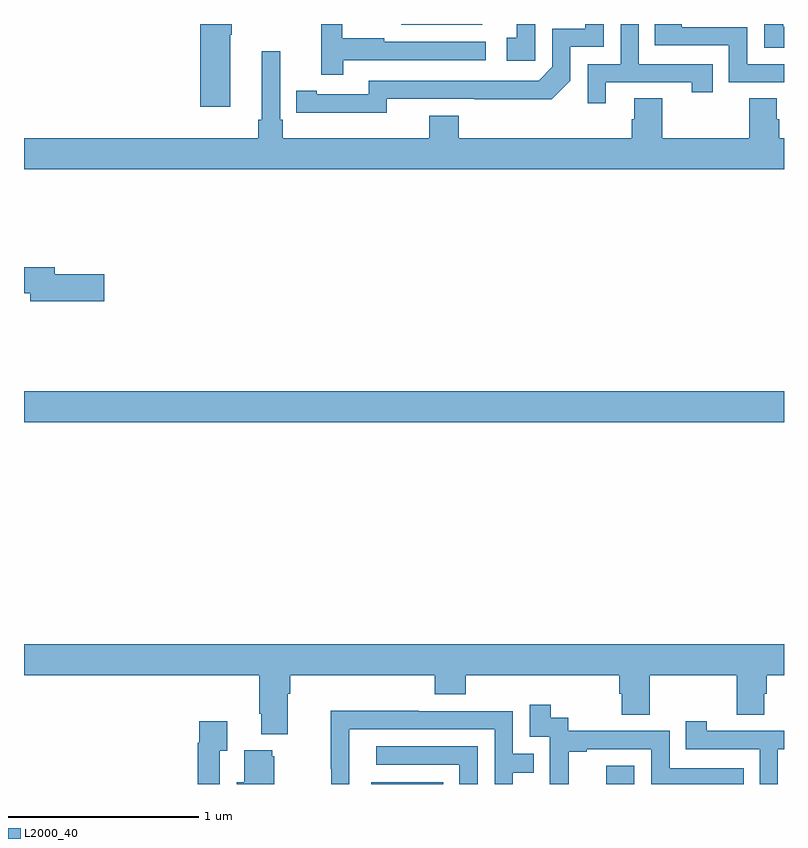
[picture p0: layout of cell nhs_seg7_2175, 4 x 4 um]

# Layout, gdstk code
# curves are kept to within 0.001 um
import gdstk
lib = gdstk.Library(unit=1e-6, precision=1e-09)
def R(c, l, rs):  # rectangles x0, y0, x1, y1
    for r in rs: c.add(gdstk.rectangle(r[:2], r[2:], *l))
def P(c, l, *ps):  # polygons
    for p in ps: c.add(gdstk.Polygon(p, *l))
L2000_40 = (2000, 40)

nhs_seg7_2175 = lib.new_cell('nhs_seg7_2175')
R(nhs_seg7_2175, L2000_40, [(254.828,1044,255.206,1044.01), (256.065,1044,256.212,1044.097), (253,1045.904,257,1046.068), (254.985,1047.995,255.412,1048)])
P(nhs_seg7_2175, L2000_40, [(254.681,1047.81),(255.43,1047.81),(255.43,1047.906),(254.897,1047.906),(254.897,1047.926),(254.674,1047.926),(254.674,1048),(254.564,1048),(254.564,1047.732),(254.681,1047.732)],
  [(254.91,1047.606),(255.778,1047.605),(255.876,1047.702),(255.876,1047.879),(256.05,1047.879),(256.05,1048),(255.953,1048),(255.953,1047.975),(255.78,1047.975),(255.78,1047.774),(255.708,1047.702),(254.814,1047.702),(254.814,1047.63),(254.542,1047.63),(254.542,1047.65),(254.434,1047.65),(254.434,1047.534),(254.91,1047.533)],
  [(254.086,1047.943),(254.094,1047.943),(254.094,1048),(253.928,1048),(253.928,1047.564),(254.086,1047.564)],
  [(255.69,1048),(255.593,1048),(255.593,1047.927),(255.54,1047.927),(255.54,1047.807),(255.69,1047.807)],
  [(257,1047.789),(256.806,1047.789),(256.806,1047.984),(256.461,1047.984),(256.461,1048),(256.321,1048),(256.321,1047.888),(256.71,1047.888),(256.71,1047.693),(257,1047.693)],
  [(257,1047.985),(256.995,1047.985),(256.995,1048),(256.896,1048),(256.896,1047.876),(257,1047.876)],
  [(256.063,1047.693),(256.514,1047.693),(256.514,1047.642),(256.625,1047.642),(256.625,1047.789),(256.236,1047.789),(256.236,1048),(256.14,1048),(256.14,1047.789),(255.966,1047.789),(255.966,1047.582),(256.063,1047.582)],
  [(257,1047.4),(256.976,1047.4),(256.976,1047.498),(256.963,1047.498),(256.963,1047.608),(256.816,1047.608),(256.816,1047.4),(256.359,1047.4),(256.359,1047.608),(256.211,1047.608),(256.211,1047.498),(256.199,1047.498),(256.199,1047.4),(255.287,1047.4),(255.287,1047.517),(255.134,1047.517),(255.134,1047.4),(254.363,1047.4),(254.363,1047.496),(254.349,1047.496),(254.349,1047.856),(254.252,1047.856),(254.252,1047.496),(254.233,1047.496),(254.233,1047.4),(253,1047.4),(253,1047.236),(257,1047.236)],
  [(253.423,1046.684),(253.162,1046.684),(253.162,1046.72),(253,1046.72),(253,1046.584),(253.034,1046.584),(253.034,1046.542),(253.423,1046.542)],
  [(254.389,1044.476),(254.402,1044.476),(254.402,1044.572),(255.161,1044.572),(255.161,1044.473),(255.326,1044.473),(255.326,1044.572),(256.133,1044.572),(256.133,1044.474),(256.145,1044.474),(256.145,1044.364),(256.293,1044.364),(256.293,1044.572),(256.75,1044.572),(256.75,1044.364),(256.897,1044.364),(256.897,1044.474),(256.91,1044.474),(256.91,1044.572),(257,1044.572),(257,1044.736),(253,1044.736),(253,1044.572),(254.237,1044.572),(254.237,1044.37),(254.249,1044.37),(254.249,1044.263),(254.389,1044.263)],
  [(255.866,1044.171),(255.961,1044.171),(255.961,1044.183),(256.302,1044.183),(256.302,1044),(256.787,1044),(256.787,1044.084),(256.398,1044.084),(256.398,1044.279),(255.864,1044.279),(255.864,1044.348),(255.772,1044.348),(255.772,1044.418),(255.663,1044.418),(255.663,1044.249),(255.768,1044.249),(255.768,1044.02),(255.767,1044.02),(255.767,1044),(255.866,1044)],
  [(254.712,1044.288),(255.477,1044.288),(255.477,1044),(255.573,1044),(255.573,1044.058),(255.683,1044.058),(255.683,1044.159),(255.573,1044.159),(255.573,1044.384),(255.077,1044.384),(255.077,1044.386),(254.614,1044.386),(254.614,1044.079),(254.616,1044.079),(254.616,1044),(254.712,1044)],
  [(256.968,1044.183),(257,1044.183),(257,1044.279),(256.594,1044.279),(256.594,1044.331),(256.483,1044.331),(256.483,1044.183),(256.872,1044.183),(256.872,1044),(256.968,1044)],
  [(254.031,1044.175),(254.071,1044.175),(254.071,1044.331),(253.923,1044.331),(253.923,1044.218),(253.915,1044.218),(253.915,1044),(254.031,1044)],
  [(255.387,1044.198),(254.853,1044.198),(254.853,1044.102),(255.291,1044.102),(255.291,1044),(255.387,1044)],
  [(254.317,1044.147),(254.306,1044.147),(254.306,1044.178),(254.159,1044.178),(254.159,1044.01),(254.12,1044.01),(254.12,1044),(254.317,1044)])

lib.write_gds('nhs_seg7_2175.gds')
